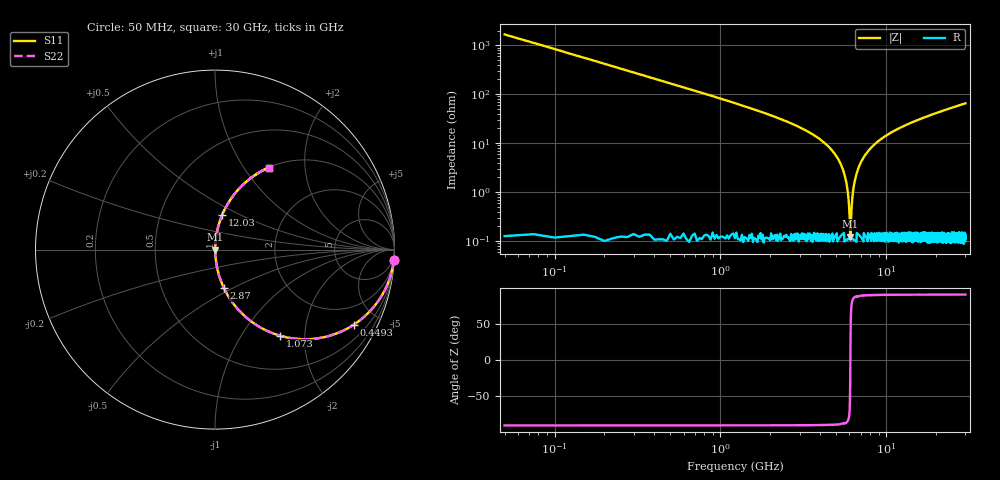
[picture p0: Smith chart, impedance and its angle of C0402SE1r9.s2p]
!	AVX Thin Film Operation 	Date: April 2014
!	Description: Accu-P® Series, Thin Film  SMD RF Capacitor
!	Part Number: 04025J1R9PBSTR
# MHZ S MA R 50
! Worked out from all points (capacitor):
!   1201 points, 50 MHz to 30 GHz, reference 50 ohm
!   read as one part in series: C = 1.9 pF near 199.8 MHz
!   lowest |Z| = 123 mohm at 6.065 GHz (marker M1)
!   series resonance near 6.077 GHz, so ESL is about 360 pH
!   S11 on the Smith chart (normalised r, x): 50 MHz: 1, -33; 449.3 MHz: 1.00, -3.71; 1.073 GHz: 1.00, -1.51; 2.87 GHz: 1.00, -0.45; 12.03 GHz: 1.00, +0.41; 30 GHz: 1.00, +1.31
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50  0.998 -3.4  0.06 86.6  0.06 86.6  0.998 -3.4
274.625  0.95 -18.2  0.312 71.8  0.312 71.8  0.95 -18.2
449.333  0.88 -28.3  0.475 61.6  0.475 61.6  0.88 -28.3
1073.292  0.603 -52.8  0.797 37.1  0.797 37.1  0.603 -52.8
1772.125  0.397 -66.5  0.917 23.4  0.917 23.4  0.397 -66.5
2870.292  0.221 -76.9  0.974 12.8  0.974 12.8  0.221 -76.9
5041.667  0.052 -85.7  0.997 3.0  0.997 3.0  0.052 -85.7
5665.625  0.019 -85.3  0.999 1.1  0.999 1.1  0.019 -85.3
5840.333  0.011 -83.1  0.999 0.6  0.999 0.6  0.011 -83.1
5965.125  0.005258 -76.4  0.999 0.3  0.999 0.3  0.005258 -76.4
6064.958  0.001327 -24.3  0.999 0.0  0.999 0.0  0.001327 -24.3
6164.792  0.00413 72.8  0.999 -0.2  0.999 -0.2  0.00413 72.8
6314.542  0.011 82.9  0.999 -0.6  0.999 -0.6  0.011 82.9
6464.292  0.017 85.0  0.999 -1.0  0.999 -1.0  0.017 85.0
7013.375  0.04 86.0  0.998 -2.3  0.998 -2.3  0.04 86.0
8136.5  0.081 84.5  0.995 -4.7  0.995 -4.7  0.081 84.5
10058.29  0.143 81.3  0.988 -8.2  0.988 -8.2  0.143 81.3
12030  0.199 78.2  0.979 -11.5  0.979 -11.5  0.199 78.2
15025  0.274 73.9  0.961 -15.9  0.961 -15.9  0.274 73.9
20016.67  0.381 67.5  0.924 -22.4  0.924 -22.4  0.381 67.5
25033.29  0.471 61.8  0.881 -28.1  0.881 -28.1  0.471 61.8
30000  0.546 56.8  0.837 -33.1  0.837 -33.1  0.546 56.8
